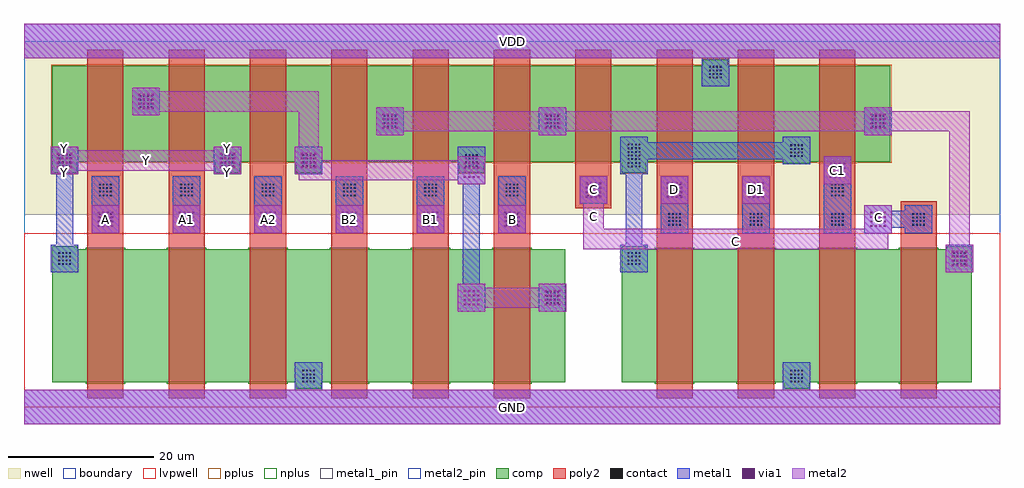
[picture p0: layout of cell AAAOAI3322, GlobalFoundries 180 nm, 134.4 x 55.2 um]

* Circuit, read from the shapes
.subckt AAAOAI3322 A A1 A2 B B1 B2 C C1 D D1 GND VDD Y
XM1 n1 A Y VSUBS nfet_03v3 w=18.3u l=5u
XM2 n2 A1 n1 VSUBS nfet_03v3 w=18.3u l=5u
XM3 GND A2 n2 VSUBS nfet_03v3 w=18.3u l=5u
XM4 n3 B2 GND VSUBS nfet_03v3 w=18.3u l=5u
XM5 n4 B1 n3 VSUBS nfet_03v3 w=18.3u l=5u
XM6 n5 B n4 VSUBS nfet_03v3 w=18.3u l=5u
XM7 n6 D n7 VSUBS nfet_03v3 w=18.3u l=5u
XM8 GND D1 n6 VSUBS nfet_03v3 w=18.3u l=5u
XM9 n8 C1 GND VSUBS nfet_03v3 w=18.3u l=5u
XM10 n9 C n8 VSUBS nfet_03v3 w=18.3u l=5u
XM11 n5 A Y n10 pfet_03v3 w=13.2u l=5u
XM12 Y A1 n5 n10 pfet_03v3 w=13.2u l=5u
XM13 n5 A2 Y n10 pfet_03v3 w=13.2u l=5u
XM14 n9 B2 n5 n10 pfet_03v3 w=13.2u l=5u
XM15 n5 B1 n9 n10 pfet_03v3 w=13.2u l=5u
XM16 n9 B n5 n10 pfet_03v3 w=13.2u l=5u
XM17 n7 C n9 n10 pfet_03v3 w=13.2u l=5u
XM18 VDD D n7 n10 pfet_03v3 w=13.2u l=5u
XM19 n7 D1 VDD n10 pfet_03v3 w=13.2u l=5u
XM20 n9 C1 n7 n10 pfet_03v3 w=13.2u l=5u
.ends

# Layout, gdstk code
import gdstk
lib = gdstk.Library(unit=1e-6, precision=1e-09)
def R(c, l, rs):  # rectangles x0, y0, x1, y1
    for r in rs: c.add(gdstk.rectangle(r[:2], r[2:], *l))
def A(c, l, x, y, w, h, nx, ny, dx, dy):  # array of equal rectangles
    R(c, l, [(x+i*dx, y+j*dy, x+i*dx+w, y+j*dy+h) for i in range(nx) for j in range(ny)])
boundary = (0, 0)
nwell = (21, 0)
comp = (22, 0)
poly2 = (30, 0)
pplus = (31, 0)
nplus = (32, 0)
contact = (33, 0)
metal1 = (34, 0)
metal1_pin = (34, 10)
via1 = (35, 0)
metal2 = (36, 0)
metal2_pin = (36, 10)
lvpwell = (204, 0)

aaaoai3322 = lib.new_cell('AAAOAI3322')
R(aaaoai3322, boundary, [(0,0,134.4,50.4)])
R(aaaoai3322, nwell, [(0,26.45,134.4,50.4)])
A(aaaoai3322, comp, 37.5, 32.25, 3.4, 1.55, 3, 1, 22.4, 0)
R(aaaoai3322, comp, [(37.5,2.55,40.9,3.4), (104.7,2.55,108.1,3.4), (3.9,3.4,74.5,21.7), (82.3,3.4,130.5,21.7), (3.9,21.7,7.3,22.15), (82.3,21.7,85.7,22.15), (127.1,21.7,130.5,22.15), (3.9,32.25,7.3,33.8), (26.3,32.25,29.7,33.8), (104.7,33.6,108.1,33.8), (3.9,33.8,119.3,47), (93.5,47,96.9,47.8)])
A(aaaoai3322, poly2, 8.7, 1.2, 5, 48, 6, 1, 11.2, 0)
A(aaaoai3322, poly2, 87.1, 1.2, 5, 48, 3, 1, 11.2, 0)
R(aaaoai3322, poly2, [(120.7,1.2,125.7,28.35), (75.9,27.4,80.9,49.2)])
A(aaaoai3322, pplus, 37.34, 32.09, 3.72, 1.55, 3, 1, 22.4, 0)
A(aaaoai3322, pplus, 8.47, 33.57, 5.46, 0.07, 10, 2, 11.2, 13.59)
R(aaaoai3322, pplus, [(3.74,32.09,7.46,33.64), (26.14,32.09,29.86,33.64), (104.54,33.44,108.26,33.64), (3.74,33.64,119.46,47.16), (93.34,47.16,97.06,47.96)])
A(aaaoai3322, nplus, 8.47, 3.17, 5.46, 0.21, 6, 2, 11.2, 18.55)
A(aaaoai3322, nplus, 86.87, 3.17, 5.46, 0.21, 4, 2, 11.2, 18.55)
R(aaaoai3322, nplus, [(37.48,2.53,40.92,3.38), (104.68,2.53,108.12,3.38), (3.88,3.38,74.52,21.72), (82.28,3.38,130.52,21.72), (3.88,21.72,7.32,22.17), (82.28,21.72,85.72,22.17), (127.08,21.72,130.52,22.17)])
A(aaaoai3322, contact, 38.34, 3.39, 0.22, 0.22, 4, 4, 0.5, 0.5)
A(aaaoai3322, contact, 105.54, 3.39, 0.22, 0.22, 4, 4, 0.5, 0.5)
A(aaaoai3322, contact, 71.94, 14.19, 0.22, 0.22, 4, 4, 0.5, 0.5)
A(aaaoai3322, contact, 4.74, 19.59, 0.22, 0.22, 4, 4, 0.5, 0.5)
A(aaaoai3322, contact, 83.14, 19.59, 0.22, 0.22, 4, 4, 0.5, 0.5)
A(aaaoai3322, contact, 127.94, 19.59, 0.22, 0.22, 4, 4, 0.5, 0.5)
A(aaaoai3322, contact, 10.34, 24.99, 0.22, 0.22, 4, 4, 0.5, 0.5)
A(aaaoai3322, contact, 21.54, 24.99, 0.22, 0.22, 4, 4, 0.5, 0.5)
A(aaaoai3322, contact, 32.74, 24.99, 0.22, 0.22, 4, 4, 0.5, 0.5)
A(aaaoai3322, contact, 43.94, 24.99, 0.22, 0.22, 4, 4, 0.5, 0.5)
A(aaaoai3322, contact, 55.14, 24.99, 0.22, 0.22, 4, 4, 0.5, 0.5)
A(aaaoai3322, contact, 66.34, 24.99, 0.22, 0.22, 4, 4, 0.5, 0.5)
A(aaaoai3322, contact, 88.74, 24.99, 0.22, 0.22, 4, 4, 0.5, 0.5)
A(aaaoai3322, contact, 99.94, 24.99, 0.22, 0.22, 4, 4, 0.5, 0.5)
A(aaaoai3322, contact, 111.14, 24.99, 0.22, 0.22, 4, 4, 0.5, 0.5)
A(aaaoai3322, contact, 122.34, 24.99, 0.22, 0.22, 4, 4, 0.5, 0.5)
A(aaaoai3322, contact, 10.34, 29.04, 0.22, 0.22, 4, 4, 0.5, 0.5)
A(aaaoai3322, contact, 21.54, 29.04, 0.22, 0.22, 4, 4, 0.5, 0.5)
A(aaaoai3322, contact, 32.74, 29.04, 0.22, 0.22, 4, 4, 0.5, 0.5)
A(aaaoai3322, contact, 43.94, 29.04, 0.22, 0.22, 4, 4, 0.5, 0.5)
A(aaaoai3322, contact, 55.14, 29.04, 0.22, 0.22, 4, 4, 0.5, 0.5)
A(aaaoai3322, contact, 66.34, 29.04, 0.22, 0.22, 4, 4, 0.5, 0.5)
A(aaaoai3322, contact, 77.54, 29.04, 0.22, 0.22, 4, 4, 0.5, 0.5)
A(aaaoai3322, contact, 88.74, 29.04, 0.22, 0.22, 4, 4, 0.5, 0.5)
A(aaaoai3322, contact, 99.94, 29.04, 0.22, 0.22, 4, 4, 0.5, 0.5)
A(aaaoai3322, contact, 111.14, 29.04, 0.22, 0.22, 4, 4, 0.5, 0.5)
A(aaaoai3322, contact, 83.14, 33.015, 0.22, 0.22, 4, 7, 0.5, 0.5)
A(aaaoai3322, contact, 4.74, 33.09, 0.22, 0.22, 4, 4, 0.5, 0.5)
A(aaaoai3322, contact, 27.14, 33.09, 0.22, 0.22, 4, 4, 0.5, 0.5)
A(aaaoai3322, contact, 38.34, 33.09, 0.22, 0.22, 4, 4, 0.5, 0.5)
A(aaaoai3322, contact, 60.74, 33.09, 0.22, 0.22, 4, 4, 0.5, 0.5)
A(aaaoai3322, contact, 105.54, 34.44, 0.22, 0.22, 4, 4, 0.5, 0.5)
A(aaaoai3322, contact, 49.54, 38.49, 0.22, 0.22, 4, 4, 0.5, 0.5)
A(aaaoai3322, contact, 71.94, 38.49, 0.22, 0.22, 4, 4, 0.5, 0.5)
A(aaaoai3322, contact, 116.74, 38.49, 0.22, 0.22, 4, 4, 0.5, 0.5)
A(aaaoai3322, contact, 15.94, 41.19, 0.22, 0.22, 4, 4, 0.5, 0.5)
A(aaaoai3322, contact, 94.34, 45.24, 0.22, 0.22, 4, 4, 0.5, 0.5)
A(aaaoai3322, metal1, 9.3, 23.95, 3.8, 7.85, 6, 1, 11.2, 0)
R(aaaoai3322, metal1, [(0,-2.4,134.4,2.4), (37.3,2.4,41.1,6.15), (104.5,2.4,108.3,6.15), (59.7,13.15,63.5,16.95), (70.9,13.15,74.7,16.95), (60.45,16.95,62.75,30.7), (3.7,18.55,7.5,22.35), (82.1,18.55,85.9,22.35), (126.9,18.55,130.7,22.35), (4.45,22.35,6.75,32.05), (82.85,22.35,85.15,32.05), (87.7,23.95,91.5,31.8), (98.9,23.95,102.7,31.8), (110.1,23.95,113.9,34.5), (115.7,23.95,119.5,24.7), (121.3,23.95,125.1,24.7), (115.7,24.7,125.1,27), (115.7,27,119.5,27.75), (121.3,27,125.1,27.75), (76.5,28,80.3,31.8), (59.7,30.7,63.5,35.85), (3.7,32.05,7.5,35.85), (26.1,32.05,29.9,35.85), (37.3,32.05,41.1,35.85), (82.1,32.05,85.9,34.15), (104.5,33.4,108.3,34.15), (82.1,34.15,108.3,36.45), (82.1,36.45,85.9,37.2), (104.5,36.45,108.3,37.2), (48.5,37.45,52.3,41.25), (70.9,37.45,74.7,41.25), (115.7,37.45,119.5,41.25), (14.9,40.15,18.7,43.95), (93.3,44.2,97.1,48), (0,48,134.4,52.8)])
R(aaaoai3322, metal1_pin, [(0,-2.4,134.4,2.4), (0,48,134.4,52.8)])
A(aaaoai3322, via1, 60.54, 13.99, 0.26, 0.26, 4, 4, 0.62, 0.62)
A(aaaoai3322, via1, 71.74, 13.99, 0.26, 0.26, 4, 4, 0.62, 0.62)
A(aaaoai3322, via1, 127.74, 19.39, 0.26, 0.26, 4, 4, 0.62, 0.62)
A(aaaoai3322, via1, 10.14, 24.79, 0.26, 0.26, 4, 4, 0.62, 0.62)
A(aaaoai3322, via1, 21.34, 24.79, 0.26, 0.26, 4, 4, 0.62, 0.62)
A(aaaoai3322, via1, 32.54, 24.79, 0.26, 0.26, 4, 4, 0.62, 0.62)
A(aaaoai3322, via1, 43.74, 24.79, 0.26, 0.26, 4, 4, 0.62, 0.62)
A(aaaoai3322, via1, 54.94, 24.79, 0.26, 0.26, 4, 4, 0.62, 0.62)
A(aaaoai3322, via1, 66.14, 24.79, 0.26, 0.26, 4, 4, 0.62, 0.62)
A(aaaoai3322, via1, 116.54, 24.79, 0.26, 0.26, 4, 4, 0.62, 0.62)
A(aaaoai3322, via1, 77.34, 28.84, 0.26, 0.26, 4, 4, 0.62, 0.62)
A(aaaoai3322, via1, 88.54, 28.84, 0.26, 0.26, 4, 4, 0.62, 0.62)
A(aaaoai3322, via1, 99.74, 28.84, 0.26, 0.26, 4, 4, 0.62, 0.62)
A(aaaoai3322, via1, 60.54, 31.54, 0.26, 0.26, 4, 4, 0.62, 0.62)
A(aaaoai3322, via1, 110.94, 31.54, 0.26, 0.26, 4, 4, 0.62, 0.62)
A(aaaoai3322, via1, 4.54, 32.89, 0.26, 0.26, 4, 4, 0.62, 0.62)
A(aaaoai3322, via1, 26.94, 32.89, 0.26, 0.26, 4, 4, 0.62, 0.62)
A(aaaoai3322, via1, 38.14, 32.89, 0.26, 0.26, 4, 4, 0.62, 0.62)
A(aaaoai3322, via1, 49.34, 38.29, 0.26, 0.26, 4, 4, 0.62, 0.62)
A(aaaoai3322, via1, 71.74, 38.29, 0.26, 0.26, 4, 4, 0.62, 0.62)
A(aaaoai3322, via1, 116.54, 38.29, 0.26, 0.26, 4, 4, 0.62, 0.62)
A(aaaoai3322, via1, 15.74, 40.99, 0.26, 0.26, 4, 4, 0.62, 0.62)
A(aaaoai3322, metal2, 9.3, 23.95, 3.8, 3.8, 6, 1, 11.2, 0)
A(aaaoai3322, metal2, 76.5, 28, 3.8, 3.8, 3, 1, 11.2, 0)
R(aaaoai3322, metal2, [(0,-2.4,134.4,2.4), (59.7,13.15,63.5,13.65), (70.9,13.15,74.7,13.65), (59.7,13.65,74.7,16.45), (59.7,16.45,63.5,16.95), (70.9,16.45,74.7,16.95), (126.9,18.55,130.7,22.35), (77,21.75,119,23.95), (127.4,22.35,130.2,37.95), (77,23.95,119.5,24.55), (77,24.55,79.8,28), (115.7,24.55,119.5,27.75), (59.7,30.7,63.5,31.2), (110.1,30.7,113.9,34.5), (37.8,31.2,63.5,32.05), (3.7,32.05,7.5,32.55), (26.1,32.05,29.9,32.55), (37.3,32.05,63.5,34), (3.7,32.55,29.9,35.35), (37.3,34,41.1,35.85), (59.7,34,63.5,34.5), (3.7,35.35,7.5,35.85), (26.1,35.35,29.9,35.85), (37.8,35.85,40.6,40.65), (48.5,37.45,52.3,37.95), (70.9,37.45,74.7,37.95), (115.7,37.45,119.5,37.95), (48.5,37.95,130.2,40.75), (14.9,40.15,18.7,40.65), (14.9,40.65,40.6,43.45), (48.5,40.75,52.3,41.25), (70.9,40.75,74.7,41.25), (115.7,40.75,119.5,41.25), (14.9,43.45,18.7,43.95), (0,48,134.4,52.8)])
A(aaaoai3322, metal2_pin, 9.3, 23.95, 3.8, 3.8, 6, 1, 11.2, 0)
A(aaaoai3322, metal2_pin, 76.5, 28, 3.8, 3.8, 3, 1, 11.2, 0)
R(aaaoai3322, metal2_pin, [(77,21.75,119,23.95), (77,23.95,119.5,24.55), (77,24.55,79.8,28), (115.7,24.55,119.5,27.75), (110.1,30.7,113.9,34.5), (3.7,32.05,7.5,32.55), (26.1,32.05,29.9,32.55), (3.7,32.55,29.9,35.35), (3.7,35.35,7.5,35.85), (26.1,35.35,29.9,35.85)])
R(aaaoai3322, lvpwell, [(0,0,134.4,23.95)])
aaaoai3322.add(gdstk.Label('VDD', (67.2,50.4), layer=34, texttype=10))
aaaoai3322.add(gdstk.Label('GND', (67.2,0), layer=34, texttype=10))
aaaoai3322.add(gdstk.Label('Y', (5.6,32.3), layer=36, texttype=10))
aaaoai3322.add(gdstk.Label('Y', (28,32.3), layer=36, texttype=10))
aaaoai3322.add(gdstk.Label('Y', (16.8,33.95), layer=36, texttype=10))
aaaoai3322.add(gdstk.Label('Y', (5.6,35.6), layer=36, texttype=10))
aaaoai3322.add(gdstk.Label('Y', (28,35.6), layer=36, texttype=10))
aaaoai3322.add(gdstk.Label('B2', (44.8,25.85), layer=36, texttype=10))
aaaoai3322.add(gdstk.Label('B1', (56,25.85), layer=36, texttype=10))
aaaoai3322.add(gdstk.Label('A1', (22.4,25.85), layer=36, texttype=10))
aaaoai3322.add(gdstk.Label('A2', (33.6,25.85), layer=36, texttype=10))
aaaoai3322.add(gdstk.Label('B', (67.2,25.85), layer=36, texttype=10))
aaaoai3322.add(gdstk.Label('D1', (100.8,29.9), layer=36, texttype=10))
aaaoai3322.add(gdstk.Label('D', (89.6,29.9), layer=36, texttype=10))
aaaoai3322.add(gdstk.Label('C1', (112,32.6), layer=36, texttype=10))
aaaoai3322.add(gdstk.Label('C', (98,22.85), layer=36, texttype=10))
aaaoai3322.add(gdstk.Label('C', (98.25,24.25), layer=36, texttype=10))
aaaoai3322.add(gdstk.Label('C', (117.6,26.15), layer=36, texttype=10))
aaaoai3322.add(gdstk.Label('C', (78.4,26.275), layer=36, texttype=10))
aaaoai3322.add(gdstk.Label('C', (78.4,29.9), layer=36, texttype=10))
aaaoai3322.add(gdstk.Label('A', (11.2,25.85), layer=36, texttype=10))

lib.write_gds('AAAOAI3322.gds')
